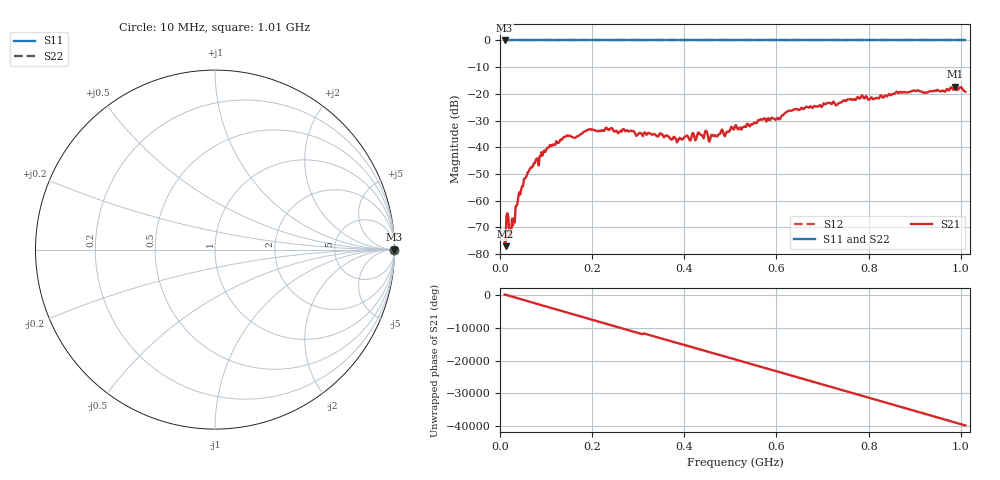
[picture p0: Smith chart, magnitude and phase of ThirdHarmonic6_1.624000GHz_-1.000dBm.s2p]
! 8/16/2025 7:24:14 PM
! C:\ANRITSUVNA\TEMP\TEMP.S2P
! CHANNEL.1
! TR.MEASUREMENT
! RAW.DATA
! RF.CORRECTION.OFF
! AVERAGING.OFF
! IF.BANDWIDTH: 5KHZ
! SWEEPTYPE:  FREQ.SWEEP(Linear)
! Reference Plane Port Info
! PORT:  PORT1  PORT2
! DISTANCE:  0  m  0  m
! TIME:  0  s  0  s
! PHASE.OFFSET:  0  deg.  0  deg.
! LOSS:  0  dB  0  dB
! REF.LOSS:  0  dB  0  dB
! REF.FREQ:  0  Hz  0  Hz
! Power Info
! POWER:  -20  dBm  -20  dBm
! EFF.POWER:  -20  dBm  -20  dBm
! SOURCE.ATTEN:  0  dB  0  dB
! TEST.ATTEN:  0  dB  0  dB
# GHZ S RI R 50.0
! FREQ.GHZ  S11RE  S11IM  S21RE  S21IM  S12RE  S12IM  S22RE  S22IM
!; PortSelection: Port_12
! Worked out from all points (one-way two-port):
!   501 points, 10 MHz to 1.01 GHz, reference 50 ohm
!   highest |S21| = -17.28 dB at 988 MHz (marker M1); lowest = -77.0 dB at 12 MHz (marker M2)
!   lowest |S11| = 0.0 dB at 10 MHz (marker M3)
!   |S11| at or under -10 dB: nowhere
!   |S22| runs from 0.0 to 0.0 dB; largest |S21 - S12| = 1.1
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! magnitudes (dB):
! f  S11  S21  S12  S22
! 10 MHz  0.0  -75.5  0.0  0.0
! 12 MHz  0.0  -77.0  0.0  0.0
! 18 MHz  0.0  -66.1  0.0  0.0
! 24 MHz  0.0  -73.0  0.0  0.0
! 28 MHz  0.0  -69.3  0.0  0.0
! 38 MHz  0.0  -61.0  0.0  0.0
! 50 MHz  0.0  -54.6  0.0  0.0
! 78 MHz  0.0  -44.6  0.0  0.0
! 106 MHz  0.0  -40.0  0.0  0.0
! 142 MHz  0.0  -36.1  0.0  0.0
! 178 MHz  0.0  -34.9  0.0  0.0
! 242 MHz  0.0  -32.7  0.0  0.0
! 344 MHz  0.0  -35.9  0.0  0.0
! 384 MHz  0.0  -38.2  0.0  0.0
! 448 MHz  0.0  -33.8  0.0  0.0
! 456 MHz  0.0  -37.1  0.0  0.0
! 510 MHz  0.0  -32.0  0.0  0.0
! 604 MHz  0.0  -29.1  0.0  0.0
! 678 MHz  0.0  -25.3  0.0  0.0
! 844 MHz  0.0  -20.0  0.0  0.0
! 988 MHz  0.0  -17.3  0.0  0.0
! 1.01 GHz  0.0  -19.2  0.0  0.0
